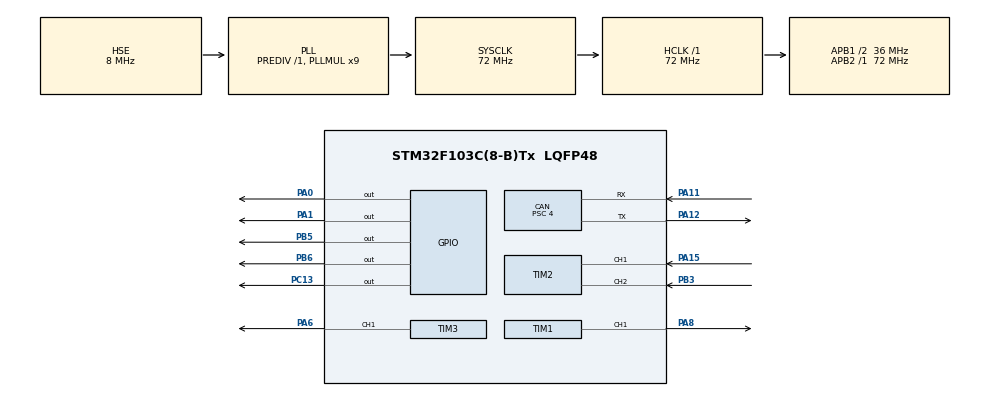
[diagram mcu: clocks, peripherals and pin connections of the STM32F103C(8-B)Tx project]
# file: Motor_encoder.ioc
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CAN.BS1=CAN_BS1_15TQ
CAN.BS2=CAN_BS2_2TQ
CAN.CalculateBaudRate=500000
CAN.CalculateTimeBit=2000
CAN.CalculateTimeQuantum=111.11111111111111
CAN.Prescaler=4
Mcu.Family=STM32F1
Mcu.Name=STM32F103C(8-B)Tx
Mcu.Package=LQFP48
NVIC.CAN1_RX1_IRQn=true\:0\:0\:false\:false\:true\:true\:true\:true
NVIC.PriorityGroup=NVIC_PRIORITYGROUP_4
NVIC.TIM2_IRQn=true\:0\:0\:false\:false\:true\:true\:true\:true
NVIC.USB_HP_CAN1_TX_IRQn=true\:0\:0\:false\:false\:true\:true\:true\:true
NVIC.USB_LP_CAN1_RX0_IRQn=true\:0\:0\:false\:false\:true\:true\:true\:true
PA0-WKUP.GPIO_PuPd=GPIO_PULLUP
PA0-WKUP.Signal=GPIO_Output
PA1.GPIO_PuPd=GPIO_PULLUP
PA1.Signal=GPIO_Output
PA11.GPIO_PuPd=GPIO_PULLUP
PA11.Mode=CAN_Activate
PA11.Signal=CAN_RX
PA12.Mode=CAN_Activate
PA12.Signal=CAN_TX
PA13.Mode=Serial_Wire
PA13.Signal=SYS_JTMS-SWDIO
PA14.Mode=Serial_Wire
PA14.Signal=SYS_JTCK-SWCLK
PA15.Signal=S_TIM2_CH1_ETR
PA6.Signal=S_TIM3_CH1
PA8.Signal=S_TIM1_CH1
PB3.Signal=S_TIM2_CH2
PB5.GPIO_PuPd=GPIO_PULLUP
PB5.Signal=GPIO_Output
PB6.GPIO_PuPd=GPIO_PULLUP
PB6.Signal=GPIO_Output
PC13-TAMPER-RTC.GPIO_PuPd=GPIO_PULLDOWN
PC13-TAMPER-RTC.Signal=GPIO_Output
PD0-OSC_IN.Mode=HSE-External-Oscillator
PD0-OSC_IN.Signal=RCC_OSC_IN
PD1-OSC_OUT.Mode=HSE-External-Oscillator
PD1-OSC_OUT.Signal=RCC_OSC_OUT
ProjectManager.HeapSize=0x200
ProjectManager.StackSize=0x400
ProjectManager.TargetToolchain=STM32CubeIDE
RCC.AHBFreq_Value=72000000
RCC.APB1CLKDivider=RCC_HCLK_DIV2
RCC.APB1Freq_Value=36000000
RCC.APB1TimFreq_Value=72000000
RCC.APB2Freq_Value=72000000
RCC.APB2TimFreq_Value=72000000
RCC.HCLKFreq_Value=72000000
RCC.PLLMUL=RCC_PLL_MUL9
RCC.PLLSourceVirtual=RCC_PLLSOURCE_HSE
RCC.SYSCLKFreq_VALUE=72000000
RCC.SYSCLKSource=RCC_SYSCLKSOURCE_PLLCLK
RCC.USBFreq_Value=72000000
SH.S_TIM1_CH1.0=TIM1_CH1,PWM Generation1 CH1
SH.S_TIM2_CH1_ETR.0=TIM2_CH1,Encoder_Interface
SH.S_TIM2_CH2.0=TIM2_CH2,Encoder_Interface
SH.S_TIM3_CH1.0=TIM3_CH1,PWM Generation1 CH1
TIM1.Channel-PWM\ Generation1\ CH1=TIM_CHANNEL_1
TIM1.Period=999
TIM1.Prescaler=71
TIM2.EncoderMode=TIM_ENCODERMODE_TI12
TIM3.Channel-PWM\ Generation1\ CH1=TIM_CHANNEL_1
TIM3.Period=999
TIM3.Prescaler=71
board=custom

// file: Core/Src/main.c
/* USER CODE BEGIN Header */
/**
  ******************************************************************************
  * @file           : main.c
  * @brief          : Main program body
  ******************************************************************************
  * @attention
  *
  * Copyright (c) 2025 STMicroelectronics.
  * All rights reserved.
  *
  * This software is licensed under terms that can be found in the LICENSE file
  * in the root directory of this software component.
  * If no LICENSE file comes with this software, it is provided AS-IS.
  *
  ******************************************************************************
  */
/* USER CODE END Header */
#include "main.h"

/* USER CODE BEGIN Includes */
#include <stdlib.h>
#include "math.h"
/* USER CODE END Includes */

/* USER CODE BEGIN PD */
#define ENCODER_PPR 330
#define D 8.5	// Đường kính bánh xe 85mm
/* USER CODE END PD */

CAN_HandleTypeDef hcan;

TIM_HandleTypeDef htim1;
TIM_HandleTypeDef htim2;
TIM_HandleTypeDef htim3;

/* USER CODE BEGIN PV */
CAN_RxHeaderTypeDef RxHeader;
uint8_t RxData[8];
uint8_t count = 0;
int Motor_left_speed;
int Motor_right_speed;

int32_t encoder_count;
int32_t diff;
volatile int32_t last_encoder_count = 0;
volatile uint16_t motor_speed_rpm = 0;
volatile uint16_t speed=0; // speed đọc trên encoder
uint8_t speed_percent=0; // cấp bao nhiêu % dutycycle
/* USER CODE END PV */

void SystemClock_Config(void);
static void MX_GPIO_Init(void);
static void MX_CAN_Init(void);
static void MX_TIM1_Init(void);
static void MX_TIM2_Init(void);
static void MX_TIM3_Init(void);

/* USER CODE BEGIN 0 */
void Motor_left_Set_Speed(uint16_t speed)
{
	if (speed > 100) speed =100;
	uint32_t pulse = ( speed * 999)/100;
	__HAL_TIM_SET_COMPARE(&htim3, TIM_CHANNEL_1, pulse);
}
void Motor_right_Set_Speed(uint16_t speed)
{
	if (speed > 100) speed =100;
	uint32_t pulse = ( speed * 999)/100;
	__HAL_TIM_SET_COMPARE(&htim1, TIM_CHANNEL_1, pulse);
}
void Motor_left_Set_Direction(uint8_t direct)
{
	switch (direct)
	{
		case 0:
			HAL_GPIO_WritePin(GPIOA, GPIO_PIN_1, 0);
			HAL_GPIO_WritePin(GPIOA, GPIO_PIN_0, 0);
			break;
		case 1:
			HAL_GPIO_WritePin(GPIOA, GPIO_PIN_1, 1);
			HAL_GPIO_WritePin(GPIOA, GPIO_PIN_0, 0);
			break;
		case 2:
			HAL_GPIO_WritePin(GPIOA, GPIO_PIN_1, 0);
			HAL_GPIO_WritePin(GPIOA, GPIO_PIN_0, 1);
			break;
	}
}
void Motor_right_Set_Direction(uint8_t direct)
{
	switch (direct)
	{
		case 0:
			HAL_GPIO_WritePin(GPIOB, GPIO_PIN_6, 0);
			HAL_GPIO_WritePin(GPIOB, GPIO_PIN_5, 0);
			break;
		case 1:
			HAL_GPIO_WritePin(GPIOB, GPIO_PIN_6, 1);
			HAL_GPIO_WritePin(GPIOB, GPIO_PIN_5, 0);
			break;
		case 2:
			HAL_GPIO_WritePin(GPIOB, GPIO_PIN_6, 0);
			HAL_GPIO_WritePin(GPIOB, GPIO_PIN_5, 1);
			break;
	}
}
void HAL_CAN_RxFifo0MsgPendingCallback(CAN_HandleTypeDef *hcan) // xử lý ngắt CAN nhận dữ liệụ
{
	if(HAL_CAN_GetRxMessage(hcan, CAN_RX_FIFO0, &RxHeader, RxData) == HAL_OK)
	{
		if(RxHeader.StdId == 0x01)
		{
			if (RxData[0] > 127)
			{
				Motor_left_speed = (int)RxData[0] - 256;
			}
			else
			{
				Motor_left_speed = (int)RxData[0];
			}
			if (RxData[1] > 127)
			{
				Motor_right_speed = (int)RxData[1] - 256;
			}
			else
			{
				Motor_right_speed = (int)RxData[1];
			}
			HAL_GPIO_TogglePin(GPIOC, GPIO_PIN_13);
		}
	}
}
void Read_Encoder_Speed(void)
{
    encoder_count = __HAL_TIM_GET_COUNTER(&htim2);
    diff = encoder_count - last_encoder_count;

    // Xử lý trường hợp tràn số (Timer 16-bit)
    if (diff > 32767) diff -= 65536;
    else if (diff < -32767) diff += 65536;

    // Tính tốc độ RPM
    motor_speed_rpm = (abs(diff) * 10.0 / (ENCODER_PPR * 30)) * 60.0;  // *10 do gọi mỗi 0.1s
    speed  = (motor_speed_rpm * 3.14 * D ) / 60; // tốc độ cm/s
    last_encoder_count = encoder_count;
}
void HAL_TIM_PeriodElapsedCallback(TIM_HandleTypeDef *htim)
{
    if (htim->Instance == TIM4)
    {
        Read_Encoder_Speed();  // Gọi hàm tính tốc độ
    }
}
void CAN_Send_Speed(uint16_t speed)
{
    CAN_TxHeaderTypeDef TxHeader;
    uint8_t TxData;
    uint32_t TxMailbox;

    TxHeader.StdId = 0x04;         // ID tin nhắn
    TxHeader.RTR = CAN_RTR_DATA;
    TxHeader.IDE = CAN_ID_STD;
    TxHeader.DLC = 1;               // 1 byte speed_encoder
    TxHeader.TransmitGlobalTime = DISABLE;

    TxData = speed;              // tốc độ

    if (HAL_CAN_AddTxMessage(&hcan, &TxHeader, &TxData, &TxMailbox) != HAL_OK)
    {
        Error_Handler();
    }
}
/* USER CODE END 0 */

int main(void)
{

  /* MCU Configuration--------------------------------------------------------*/

  /* Reset of all peripherals, Initializes the Flash interface and the Systick. */
  HAL_Init();

  /* Configure the system clock */
  SystemClock_Config();

  /* Initialize all configured peripherals */
  MX_GPIO_Init();
  MX_CAN_Init();
  MX_TIM1_Init();
  MX_TIM2_Init();
  MX_TIM3_Init();
  /* USER CODE BEGIN 2 */
  HAL_TIM_PWM_Start(&htim1, TIM_CHANNEL_1);
  HAL_TIM_PWM_Start(&htim3, TIM_CHANNEL_1);
  HAL_TIM_Encoder_Start(&htim2, TIM_CHANNEL_1 | TIM_CHANNEL_2);

  CAN_FilterTypeDef canfilterconfig;

  canfilterconfig.FilterActivation = CAN_FILTER_ENABLE;
  canfilterconfig.FilterBank = 0;  // anything between 0 to SlaveStartFilterBank
  canfilterconfig.FilterFIFOAssignment = CAN_FILTER_FIFO0;
  canfilterconfig.FilterIdHigh = 0x001<<5;
  canfilterconfig.FilterIdLow = 0x0000;
  canfilterconfig.FilterMaskIdHigh = 0x001<<5;
  canfilterconfig.FilterMaskIdLow = 0x0;
  canfilterconfig.FilterMode = CAN_FILTERMODE_IDMASK;
  canfilterconfig.FilterScale = CAN_FILTERSCALE_32BIT;
  canfilterconfig.SlaveStartFilterBank = 13;  // 13 to 27 are assigned to slave CAN (CAN 2) OR 0 to 12 are assgned to CAN1
  HAL_CAN_ConfigFilter(&hcan, &canfilterconfig);

  if (HAL_CAN_ActivateNotification(&hcan, CAN_IT_RX_FIFO0_MSG_PENDING) != HAL_OK)
  {
	  Error_Handler();
  }

  HAL_CAN_Start(&hcan);
  /* USER CODE END 2 */

  /* Infinite loop */
  /* USER CODE BEGIN WHILE */
  uint16_t last_speed = 0;
  while (1)
  {
    /* USER CODE END WHILE */

    /* USER CODE BEGIN 3 */
	  if (Motor_left_speed == 0) Motor_left_Set_Direction(0);
	  else if(Motor_left_speed > 0) Motor_left_Set_Direction(1);
	  else if (Motor_left_speed < 0) Motor_left_Set_Direction(2);
	  Motor_left_Set_Speed(abs(Motor_left_speed));
	  if (Motor_right_speed == 0) Motor_right_Set_Direction(0);
	  else if(Motor_right_speed > 0) Motor_right_Set_Direction(1);
	  else if (Motor_right_speed < 0) Motor_right_Set_Direction(2);
	  Motor_right_Set_Speed(abs(Motor_right_speed));
	  Read_Encoder_Speed();
	  if(speed != last_speed)
	  {
		  last_speed = speed;
		  CAN_Send_Speed(speed);
	  }
	  HAL_Delay(100);
  }
  /* USER CODE END 3 */
}

void SystemClock_Config(void)
{
  RCC_OscInitTypeDef RCC_OscInitStruct = {0};
  RCC_ClkInitTypeDef RCC_ClkInitStruct = {0};

  /** Initializes the RCC Oscillators according to the specified parameters
  * in the RCC_OscInitTypeDef structure.
  */
  RCC_OscInitStruct.OscillatorType = RCC_OSCILLATORTYPE_HSE;
  RCC_OscInitStruct.HSEState = RCC_HSE_ON;
  RCC_OscInitStruct.HSEPredivValue = RCC_HSE_PREDIV_DIV1;
  RCC_OscInitStruct.HSIState = RCC_HSI_ON;
  RCC_OscInitStruct.PLL.PLLState = RCC_PLL_ON;
  RCC_OscInitStruct.PLL.PLLSource = RCC_PLLSOURCE_HSE;
  RCC_OscInitStruct.PLL.PLLMUL = RCC_PLL_MUL9;
  if (HAL_RCC_OscConfig(&RCC_OscInitStruct) != HAL_OK)
  {
    Error_Handler();
  }

  /** Initializes the CPU, AHB and APB buses clocks
  */
  RCC_ClkInitStruct.ClockType = RCC_CLOCKTYPE_HCLK|RCC_CLOCKTYPE_SYSCLK
                              |RCC_CLOCKTYPE_PCLK1|RCC_CLOCKTYPE_PCLK2;
  RCC_ClkInitStruct.SYSCLKSource = RCC_SYSCLKSOURCE_PLLCLK;
  RCC_ClkInitStruct.AHBCLKDivider = RCC_SYSCLK_DIV1;
  RCC_ClkInitStruct.APB1CLKDivider = RCC_HCLK_DIV2;
  RCC_ClkInitStruct.APB2CLKDivider = RCC_HCLK_DIV1;

  if (HAL_RCC_ClockConfig(&RCC_ClkInitStruct, FLASH_LATENCY_2) != HAL_OK)
  {
    Error_Handler();
  }
}

static void MX_CAN_Init(void)
{

  hcan.Instance = CAN1;
  hcan.Init.Prescaler = 4;
  hcan.Init.Mode = CAN_MODE_NORMAL;
  hcan.Init.SyncJumpWidth = CAN_SJW_1TQ;
  hcan.Init.TimeSeg1 = CAN_BS1_15TQ;
  hcan.Init.TimeSeg2 = CAN_BS2_2TQ;
  hcan.Init.TimeTriggeredMode = DISABLE;
  hcan.Init.AutoBusOff = DISABLE;
  hcan.Init.AutoWakeUp = DISABLE;
  hcan.Init.AutoRetransmission = DISABLE;
  hcan.Init.ReceiveFifoLocked = DISABLE;
  hcan.Init.TransmitFifoPriority = DISABLE;
  if (HAL_CAN_Init(&hcan) != HAL_OK)
  {
    Error_Handler();
  }

}

static void MX_TIM1_Init(void)
{

  TIM_MasterConfigTypeDef sMasterConfig = {0};
  TIM_OC_InitTypeDef sConfigOC = {0};
  TIM_BreakDeadTimeConfigTypeDef sBreakDeadTimeConfig = {0};

  htim1.Instance = TIM1;
  htim1.Init.Prescaler = 71;
  htim1.Init.CounterMode = TIM_COUNTERMODE_UP;
  htim1.Init.Period = 999;
  htim1.Init.ClockDivision = TIM_CLOCKDIVISION_DIV1;
  htim1.Init.RepetitionCounter = 0;
  htim1.Init.AutoReloadPreload = TIM_AUTORELOAD_PRELOAD_DISABLE;
  if (HAL_TIM_PWM_Init(&htim1) != HAL_OK)
  {
    Error_Handler();
  }
  sMasterConfig.MasterOutputTrigger = TIM_TRGO_RESET;
  sMasterConfig.MasterSlaveMode = TIM_MASTERSLAVEMODE_DISABLE;
  if (HAL_TIMEx_MasterConfigSynchronization(&htim1, &sMasterConfig) != HAL_OK)
  {
    Error_Handler();
  }
  sConfigOC.OCMode = TIM_OCMODE_PWM1;
  sConfigOC.Pulse = 0;
  sConfigOC.OCPolarity = TIM_OCPOLARITY_HIGH;
  sConfigOC.OCNPolarity = TIM_OCNPOLARITY_HIGH;
  sConfigOC.OCFastMode = TIM_OCFAST_DISABLE;
  sConfigOC.OCIdleState = TIM_OCIDLESTATE_RESET;
  sConfigOC.OCNIdleState = TIM_OCNIDLESTATE_RESET;
  if (HAL_TIM_PWM_ConfigChannel(&htim1, &sConfigOC, TIM_CHANNEL_1) != HAL_OK)
  {
    Error_Handler();
  }
  sBreakDeadTimeConfig.OffStateRunMode = TIM_OSSR_DISABLE;
  sBreakDeadTimeConfig.OffStateIDLEMode = TIM_OSSI_DISABLE;
  sBreakDeadTimeConfig.LockLevel = TIM_LOCKLEVEL_OFF;
  sBreakDeadTimeConfig.DeadTime = 0;
  sBreakDeadTimeConfig.BreakState = TIM_BREAK_DISABLE;
  sBreakDeadTimeConfig.BreakPolarity = TIM_BREAKPOLARITY_HIGH;
  sBreakDeadTimeConfig.AutomaticOutput = TIM_AUTOMATICOUTPUT_DISABLE;
  if (HAL_TIMEx_ConfigBreakDeadTime(&htim1, &sBreakDeadTimeConfig) != HAL_OK)
  {
    Error_Handler();
  }
  HAL_TIM_MspPostInit(&htim1);

}

static void MX_TIM2_Init(void)
{

  TIM_Encoder_InitTypeDef sConfig = {0};
  TIM_MasterConfigTypeDef sMasterConfig = {0};

  htim2.Instance = TIM2;
  htim2.Init.Prescaler = 0;
  htim2.Init.CounterMode = TIM_COUNTERMODE_UP;
  htim2.Init.Period = 65535;
  htim2.Init.ClockDivision = TIM_CLOCKDIVISION_DIV1;
  htim2.Init.AutoReloadPreload = TIM_AUTORELOAD_PRELOAD_DISABLE;
  sConfig.EncoderMode = TIM_ENCODERMODE_TI12;
  sConfig.IC1Polarity = TIM_ICPOLARITY_RISING;
  sConfig.IC1Selection = TIM_ICSELECTION_DIRECTTI;
  sConfig.IC1Prescaler = TIM_ICPSC_DIV1;
  sConfig.IC1Filter = 0;
  sConfig.IC2Polarity = TIM_ICPOLARITY_RISING;
  sConfig.IC2Selection = TIM_ICSELECTION_DIRECTTI;
  sConfig.IC2Prescaler = TIM_ICPSC_DIV1;
  sConfig.IC2Filter = 0;
  if (HAL_TIM_Encoder_Init(&htim2, &sConfig) != HAL_OK)
  {
    Error_Handler();
  }
  sMasterConfig.MasterOutputTrigger = TIM_TRGO_RESET;
  sMasterConfig.MasterSlaveMode = TIM_MASTERSLAVEMODE_DISABLE;
  if (HAL_TIMEx_MasterConfigSynchronization(&htim2, &sMasterConfig) != HAL_OK)
  {
    Error_Handler();
  }

}

static void MX_TIM3_Init(void)
{

  TIM_MasterConfigTypeDef sMasterConfig = {0};
  TIM_OC_InitTypeDef sConfigOC = {0};

  htim3.Instance = TIM3;
  htim3.Init.Prescaler = 71;
  htim3.Init.CounterMode = TIM_COUNTERMODE_UP;
  htim3.Init.Period = 999;
  htim3.Init.ClockDivision = TIM_CLOCKDIVISION_DIV1;
  htim3.Init.AutoReloadPreload = TIM_AUTORELOAD_PRELOAD_DISABLE;
  if (HAL_TIM_PWM_Init(&htim3) != HAL_OK)
  {
    Error_Handler();
  }
  sMasterConfig.MasterOutputTrigger = TIM_TRGO_RESET;
  sMasterConfig.MasterSlaveMode = TIM_MASTERSLAVEMODE_DISABLE;
  if (HAL_TIMEx_MasterConfigSynchronization(&htim3, &sMasterConfig) != HAL_OK)
  {
    Error_Handler();
  }
  sConfigOC.OCMode = TIM_OCMODE_PWM1;
  sConfigOC.Pulse = 0;
  sConfigOC.OCPolarity = TIM_OCPOLARITY_HIGH;
  sConfigOC.OCFastMode = TIM_OCFAST_DISABLE;
  if (HAL_TIM_PWM_ConfigChannel(&htim3, &sConfigOC, TIM_CHANNEL_1) != HAL_OK)
  {
    Error_Handler();
  }
  HAL_TIM_MspPostInit(&htim3);

}

static void MX_GPIO_Init(void)
{
  GPIO_InitTypeDef GPIO_InitStruct = {0};

  /* GPIO Ports Clock Enable */
  __HAL_RCC_GPIOC_CLK_ENABLE();
  __HAL_RCC_GPIOD_CLK_ENABLE();
  __HAL_RCC_GPIOA_CLK_ENABLE();
  __HAL_RCC_GPIOB_CLK_ENABLE();

  /*Configure GPIO pin Output Level */
  HAL_GPIO_WritePin(GPIOC, GPIO_PIN_13, GPIO_PIN_RESET);

  /*Configure GPIO pin Output Level */
  HAL_GPIO_WritePin(GPIOA, GPIO_PIN_0|GPIO_PIN_1, GPIO_PIN_RESET);

  /*Configure GPIO pin Output Level */
  HAL_GPIO_WritePin(GPIOB, GPIO_PIN_5|GPIO_PIN_6, GPIO_PIN_RESET);

  /*Configure GPIO pin : PC13 */
  GPIO_InitStruct.Pin = GPIO_PIN_13;
  GPIO_InitStruct.Mode = GPIO_MODE_OUTPUT_PP;
  GPIO_InitStruct.Pull = GPIO_PULLDOWN;
  GPIO_InitStruct.Speed = GPIO_SPEED_FREQ_LOW;
  HAL_GPIO_Init(GPIOC, &GPIO_InitStruct);

  /*Configure GPIO pins : PA0 PA1 */
  GPIO_InitStruct.Pin = GPIO_PIN_0|GPIO_PIN_1;
  GPIO_InitStruct.Mode = GPIO_MODE_OUTPUT_PP;
  GPIO_InitStruct.Pull = GPIO_PULLUP;
  GPIO_InitStruct.Speed = GPIO_SPEED_FREQ_LOW;
  HAL_GPIO_Init(GPIOA, &GPIO_InitStruct);

  /*Configure GPIO pins : PB5 PB6 */
  GPIO_InitStruct.Pin = GPIO_PIN_5|GPIO_PIN_6;
  GPIO_InitStruct.Mode = GPIO_MODE_OUTPUT_PP;
  GPIO_InitStruct.Pull = GPIO_PULLUP;
  GPIO_InitStruct.Speed = GPIO_SPEED_FREQ_LOW;
  HAL_GPIO_Init(GPIOB, &GPIO_InitStruct);

}

void Error_Handler(void)
{
  __disable_irq();
  while (1)
  {
  }
}
